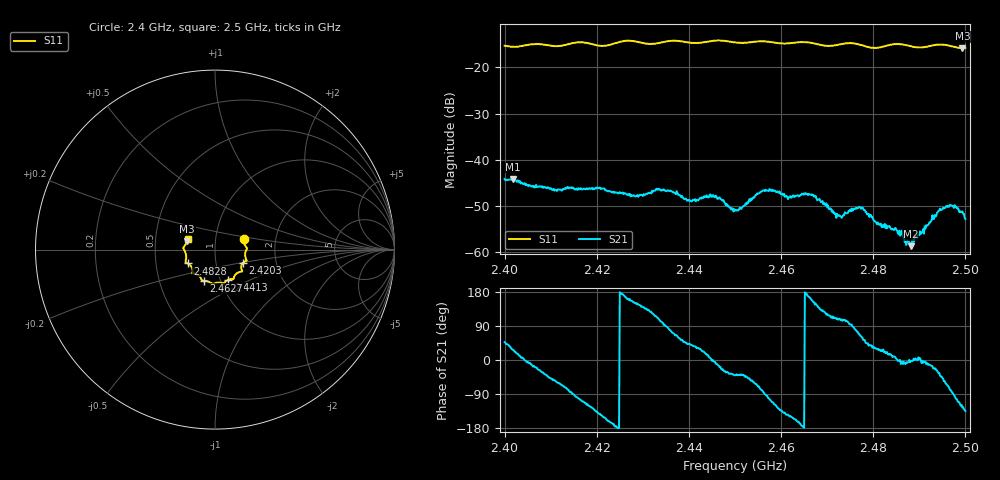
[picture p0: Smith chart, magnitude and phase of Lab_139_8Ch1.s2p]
# Hz S RI R
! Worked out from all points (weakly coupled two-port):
!   601 points, 2.4 GHz to 2.5 GHz, reference 50 ohm
!   highest |S21| = -44.13 dB at 2.4018 GHz (marker M1); lowest = -58.7 dB at 2.4882 GHz (marker M2)
!   lowest |S11| = -15.8 dB at 2.4993 GHz (marker M3), VSWR 1.39, Z = 36.5 + j3.6 ohm
!   |S11| at or under -10 dB: start of sweep to end of sweep
!   S12 and S22 are empty: the file has one direction only
!   S11 on the Smith chart (normalised r, x): 2.4 GHz: 1.37, +0.17; 2.4203 GHz: 1.35, -0.20; 2.4413 GHz: 1.09, -0.38; 2.4627 GHz: 0.83, -0.30; 2.4828 GHz: 0.73, -0.12; 2.5 GHz: 0.73, +0.09
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2.4e9  0.1614 0.0583  0.00422 0.00456  0 0  0 0
2.401833e9  0.1629 0.0381  0.00555 0.00281  0 0  0 0
2.410833e9  0.1688 -0.0175  0.00276 -0.00375  0 0  0 0
2.416667e9  0.1763 -0.0621  -0.00142 -0.0046  0 0  0 0
2.420333e9  0.1559 -0.0732  -0.00386 -0.00314  0 0  0 0
2.428667e9  0.145 -0.1229  -0.00343 0.00221  0 0  0 0
2.433333e9  0.1075 -0.148  -0.00164 0.0045  0 0  0 0
2.441333e9  0.0752 -0.1673  0.00304 0.0022  0 0  0 0
2.4455e9  0.0506 -0.188  0.00395 -0.000328  0 0  0 0
2.45e9  0.0303 -0.184  0.00216 -0.00183  0 0  0 0
2.456167e9  -0.0131 -0.1909  0.000423 -0.00466  0 0  0 0
2.462667e9  -0.0615 -0.1742  -0.0037 -0.00184  0 0  0 0
2.466667e9  -0.0745 -0.1682  -0.00393 0.0016  0 0  0 0
2.4725e9  -0.1143 -0.1343  -0.000716 0.00238  0 0  0 0
2.477333e9  -0.1245 -0.1228  0.00137 0.00263  0 0  0 0
2.482833e9  -0.1532 -0.0769  0.00184 0.000695  0 0  0 0
2.483333e9  -0.1568 -0.0752  0.00184 0.000511  0 0  0 0
2.488167e9  -0.161 -0.0517  0.00116 -5.7e-05  0 0  0 0
2.494667e9  -0.1765 0.00986  0.00207 -0.00198  0 0  0 0
2.497167e9  -0.1669 0.0239  0.000196 -0.00317  0 0  0 0
2.499333e9  -0.1544 0.0481  -0.00159 -0.00227  0 0  0 0
2.5e9  -0.1523 0.0573  -0.00161 -0.00163  0 0  0 0
